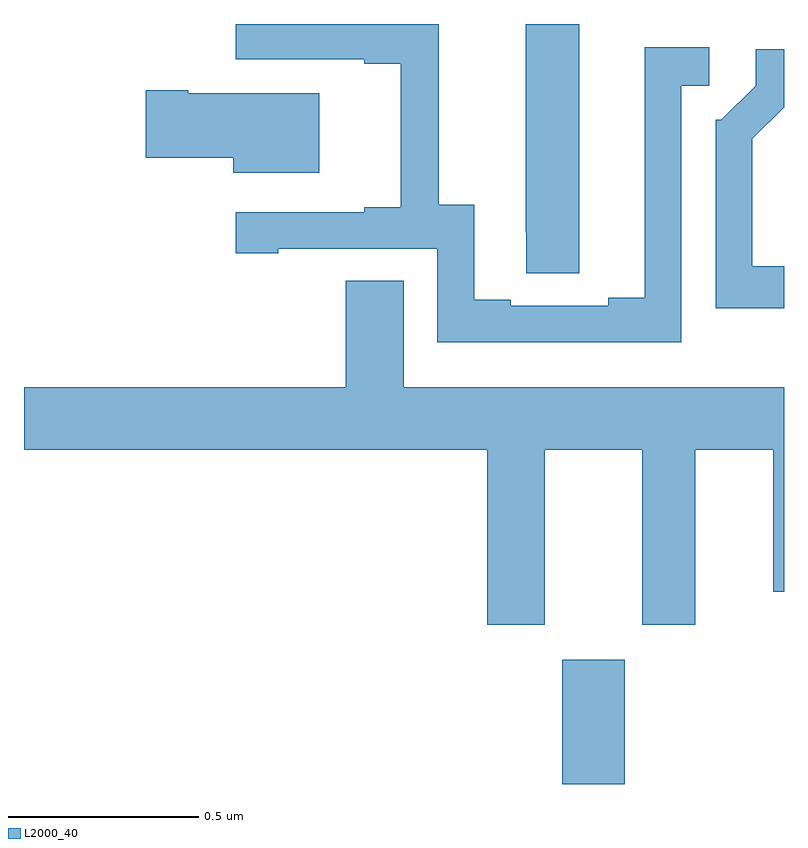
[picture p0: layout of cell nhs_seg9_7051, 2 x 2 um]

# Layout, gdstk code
import gdstk
lib = gdstk.Library(unit=1e-6, precision=1e-09)
def R(c, l, rs):  # rectangles x0, y0, x1, y1
    for r in rs: c.add(gdstk.rectangle(r[:2], r[2:], *l))
def P(c, l, *ps):  # polygons
    for p in ps: c.add(gdstk.Polygon(p, *l))
L2000_40 = (2000, 40)

nhs_seg9_7051 = lib.new_cell('nhs_seg9_7051')
R(nhs_seg9_7051, L2000_40, [(200.417,1235.5,200.581,1235.827)])
P(nhs_seg9_7051, L2000_40, [(200.73,1237.338),(200.803,1237.338),(200.803,1237.439),(200.633,1237.439),(200.633,1236.779),(200.537,1236.779),(200.537,1236.759),(200.281,1236.759),(200.281,1236.774),(200.185,1236.774),(200.185,1237.025),(200.091,1237.025),(200.091,1237.5),(199.557,1237.5),(199.557,1237.407),(199.895,1237.407),(199.895,1237.395),(199.991,1237.395),(199.991,1237.018),(199.895,1237.018),(199.895,1237.005),(199.557,1237.005),(199.557,1236.897),(199.669,1236.897),(199.669,1236.909),(200.088,1236.909),(200.088,1236.663),(200.73,1236.663)],
  [(200.461,1237.5),(200.321,1237.5),(200.321,1236.952),(200.322,1236.952),(200.322,1236.844),(200.461,1236.844)],
  [(201,1236.862),(200.917,1236.862),(200.917,1237.198),(201,1237.281),(201,1237.434),(200.925,1237.434),(200.925,1237.338),(200.835,1237.248),(200.82,1237.248),(200.82,1236.752),(201,1236.752)],
  [(199.777,1237.318),(199.432,1237.318),(199.432,1237.326),(199.32,1237.326),(199.32,1237.148),(199.55,1237.148),(199.55,1237.109),(199.777,1237.109)],
  [(200.371,1236.38),(200.627,1236.38),(200.627,1235.919),(200.767,1235.919),(200.767,1236.38),(200.972,1236.38),(200.972,1236.006),(201,1236.006),(201,1236.544),(199.999,1236.544),(199.999,1236.824),(199.847,1236.824),(199.847,1236.544),(199,1236.544),(199,1236.38),(200.219,1236.38),(200.219,1235.919),(200.371,1235.919)])

lib.write_gds('nhs_seg9_7051.gds')
